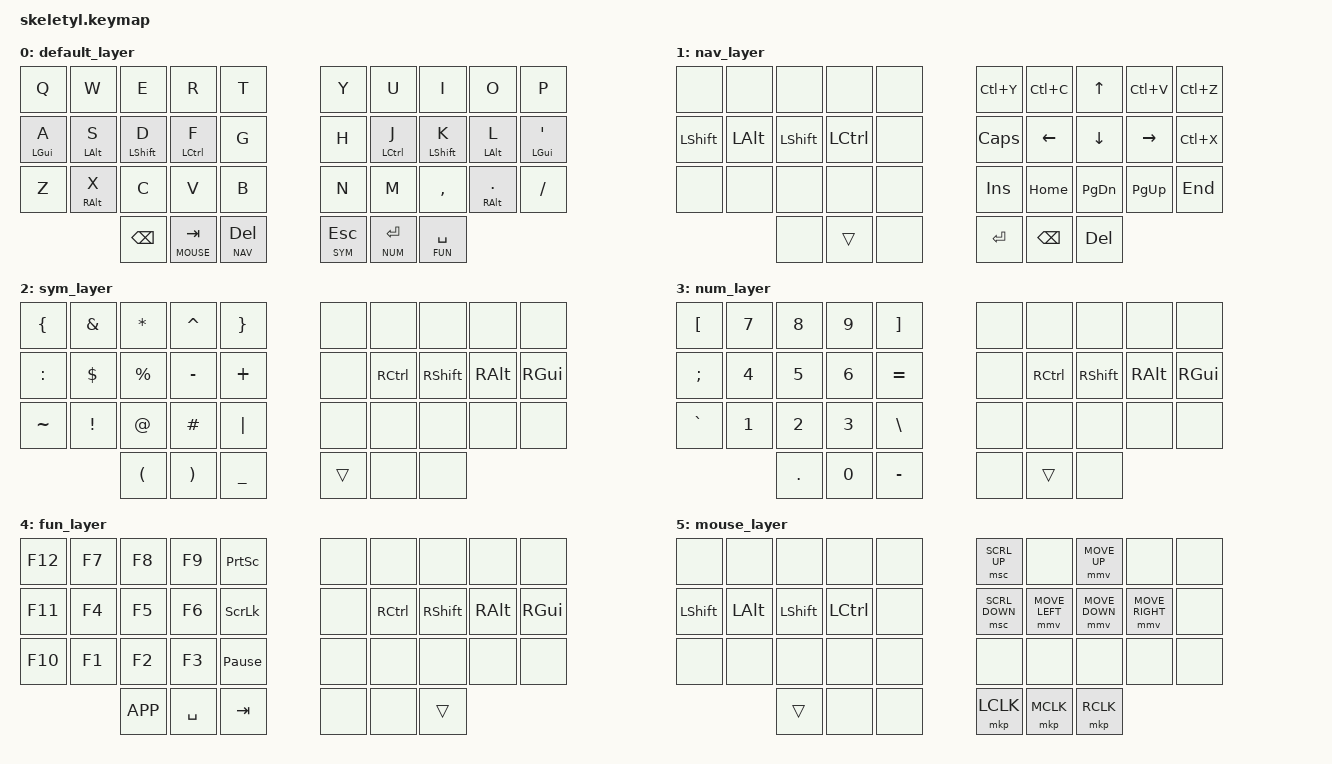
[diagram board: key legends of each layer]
#include <behaviors.dtsi>
#include <dt-bindings/zmk/keys.h>
#include <dt-bindings/zmk/pointing.h>

// The default keymap is roughly on Miryoku layout
// (https://github.com/manna-harbour/miryoku).
// Customize on your own on the config folder.

#define BASE    0
#define NAV     1
#define SYM     2
#define NUM     3
#define FUN     4
#define MOUSE   5

/ {
    behaviors {
        hm: homerow_mods {
            compatible = "zmk,behavior-hold-tap";
            label = "HOMEROW_MODS";
            #binding-cells = <2>;
            tapping-term-ms = <180>;
            quick-tap-ms = <0>;
            flavor = "hold-preferred";

            hold-while-undecided;
            bindings = <&kp>, <&kp>;
        };

        hms: homerow_mods_safe {
            compatible = "zmk,behavior-hold-tap";
            label = "HOMEROW_MODS_SAFE";
            #binding-cells = <2>;
            tapping-term-ms = <180>;
            quick-tap-ms = <0>;
            flavor = "hold-preferred";

            bindings = <&kp>, <&kp>;
        };
    };

    keymap {
        compatible = "zmk,keymap";

        default_layer {
            bindings = <
    &kp Q       &kp W       &kp E       &kp R       &kp T                                   &kp Y           &kp U       &kp I       &kp O           &kp P
    &hms LGUI A &hms LALT S &hm LSHFT D  &hm LCTRL F  &kp G                                   &kp H           &hm LCTRL J &hm LSHFT K &hms LALT L     &hms LGUI SQT
    &kp Z       &hms RALT X &kp C       &kp V       &kp B                                   &kp N           &kp M       &kp COMMA   &hms RALT DOT   &kp FSLH
                                        &kp BSPC       &lt MOUSE TAB  &lt NAV DEL  &lt SYM ESC   &lt NUM RET     &lt FUN SPACE
            >;
        };

        nav_layer {
            bindings = <
    &none       &none       &none       &none       &none                           &kp LC(Y)    &kp LC(C)   &kp UP      &kp LC(V)   &kp LC(Z)
    &kp LSHFT   &kp LALT    &kp LSHFT   &kp LCTRL   &none                           &kp CAPS    &kp LEFT    &kp DOWN    &kp RIGHT   &kp LC(X)
    &none       &none       &none       &none       &none                           &kp INS     &kp HOME    &kp PG_DN   &kp PG_UP   &kp END
                                        &none       &trans  &none       &kp RET     &kp BSPC    &kp DEL     
            >;
        };

        sym_layer {
            bindings = <
    &kp LBRC    &kp AMPS    &kp STAR    &kp CARET  &kp RBRC                     &none       &none       &none       &none       &none
    &kp COLON   &kp DLLR    &kp PRCNT   &kp MINUS  &kp PLUS                     &none       &kp RCTRL   &kp RSHFT   &kp RALT    &kp RGUI
    &kp TILDE   &kp EXCL    &kp AT      &kp HASH   &kp PIPE                     &none       &none       &none       &none       &none
                                        &kp LPAR   &kp RPAR &kp UNDER   &trans  &none       &none
            >;
        };

        num_layer {
            bindings = <
    &kp LBKT    &kp N7  &kp N8  &kp N9  &kp RBKT                        &none   &none       &none       &none       &none
    &kp SEMI    &kp N4  &kp N5  &kp N6  &kp EQUAL                       &none   &kp RCTRL   &kp RSHFT   &kp RALT    &kp RGUI
    &kp GRAVE   &kp N1  &kp N2  &kp N3  &kp BSLH                        &none   &none       &none       &none       &none
                                &kp DOT &kp N0      &kp MINUS   &none   &trans  &none
            >;
        };

        fun_layer {
            bindings = <
    &kp F12 &kp F7  &kp F8  &kp F9      &kp PSCRN                           &none   &none       &none       &none       &none
    &kp F11 &kp F4  &kp F5  &kp F6      &kp SLCK                            &none   &kp RCTRL   &kp RSHFT   &kp RALT    &kp RGUI
    &kp F10 &kp F1  &kp F2  &kp F3      &kp PAUSE_BREAK                     &none   &none       &none       &none       &none
                            &kp K_APP   &kp SPACE       &kp TAB     &none   &none   &trans
            >;
        };

        mouse_layer {
            bindings = <
    &none       &none       &none       &none       &none                           &msc SCRL_UP    &none           &mmv MOVE_UP    &none           &none
    &kp LSHFT   &kp LALT    &kp LSHFT   &kp LCTRL   &none                           &msc SCRL_DOWN  &mmv MOVE_LEFT &mmv MOVE_DOWN  &mmv MOVE_RIGHT &none
    &none       &none       &none       &none       &none                           &none           &none           &none           &none           &none
                                        &trans      &none   &none       &mkp LCLK   &mkp MCLK       &mkp RCLK
            >;
        };
    };
};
